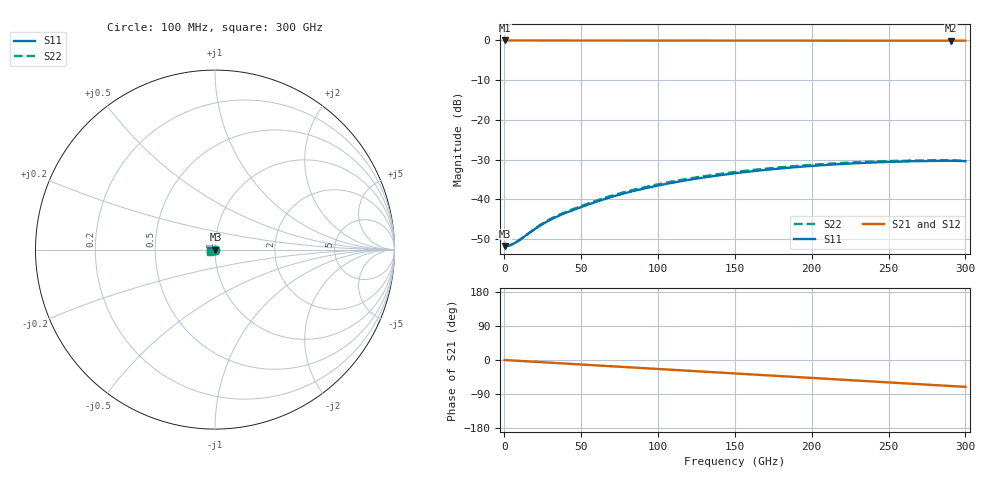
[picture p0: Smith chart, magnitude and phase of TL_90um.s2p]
#  Hz  S  RI  R  50
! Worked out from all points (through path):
!   3000 points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, 100 MHz to 300 GHz, reference 50 ohm
!   highest |S21| = -0.02 dB at 100 MHz (marker M1); lowest = -0.1 dB at 290.6 GHz (marker M2)
!   group delay of S21, straight-line fit = 656 fs
!   lowest |S11| = -51.7 dB at 100 MHz (marker M3), VSWR 1.01, Z = 50.3 - j0.000366 ohm
!   |S11| at or under -10 dB: start of sweep to end of sweep
!   |S22| runs from -51.8 to -30.2 dB; largest |S21 - S12| = 0.00062
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1e8  0.00259 -3.64e-06  0.9975 -0.000428  0.9975 -0.000428  0.00258 -3.66e-06
3.5e9  0.00265 -0.000137  0.9973 -0.0149  0.9973 -0.0149  0.00264 -0.000138
7.3e9  0.00285 -0.000351  0.9966 -0.0311  0.9966 -0.0311  0.00285 -0.000353
1.06e10  0.00309 -0.000632  0.9958 -0.0449  0.9958 -0.0449  0.0031 -0.000635
2.18e10  0.00385 -0.00232  0.9916 -0.091  0.9916 -0.091  0.00392 -0.00233
2.59e10  0.00394 -0.00312  0.9897 -0.1076  0.9897 -0.1076  0.00405 -0.00313
3.01e10  0.00392 -0.00395  0.9876 -0.1246  0.9876 -0.1246  0.00407 -0.00397
3.83e10  0.00364 -0.00547  0.9827 -0.1579  0.9827 -0.1579  0.00389 -0.00551
5.01e10  0.00304 -0.00742  0.9735 -0.2056  0.9735 -0.2056  0.00345 -0.0075
6.28e10  0.00222 -0.0095  0.961 -0.256  0.961 -0.256  0.00285 -0.00967
7.36e10  0.00122 -0.0112  0.9485 -0.2985  0.9485 -0.2985  0.00208 -0.0115
8.56e10  -0.00013 -0.013  0.9323 -0.3449  0.9323 -0.3449  0.000999 -0.0134
1.001e11  -0.002 -0.0148  0.9098 -0.3998  0.9097 -0.3998  -0.000513 -0.0155
1.229e11  -0.00552 -0.0171  0.8679 -0.4831  0.8679 -0.4831  -0.00342 -0.0183
1.501e11  -0.0103 -0.0187  0.8082 -0.5768  0.8081 -0.5767  -0.00743 -0.0208
1.74e11  -0.0147 -0.0189  0.7473 -0.6531  0.7472 -0.653  -0.0113 -0.0221
2.001e11  -0.0194 -0.0178  0.6727 -0.7293  0.6725 -0.7291  -0.0155 -0.0224
2.256e11  -0.0236 -0.0156  0.5924 -0.7956  0.5922 -0.7953  -0.0193 -0.0217
2.501e11  -0.0269 -0.0124  0.509 -0.851  0.5087 -0.8506  -0.0226 -0.0202
2.707e11  -0.0288 -0.00917  0.4348 -0.891  0.4346 -0.8906  -0.0248 -0.0184
2.906e11  -0.03 -0.00554  0.3602 -0.9232  0.36 -0.9227  -0.0264 -0.0162
3e11  -0.0301 -0.00366  0.324 -0.9366  0.3238 -0.9361  -0.0267 -0.015
